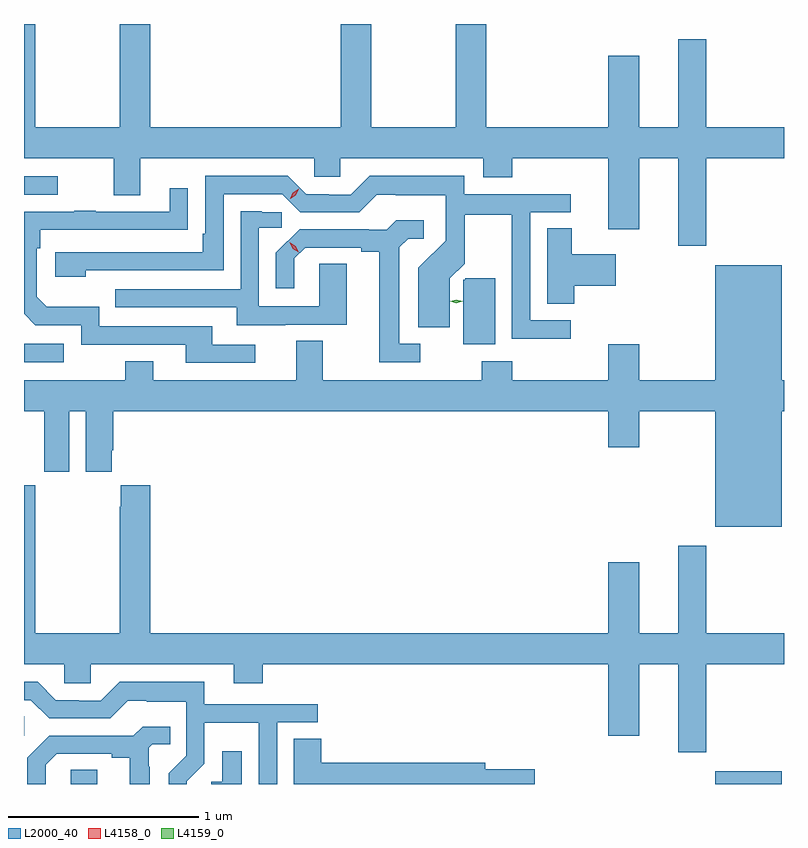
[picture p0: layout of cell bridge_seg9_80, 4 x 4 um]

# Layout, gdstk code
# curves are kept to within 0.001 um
import gdstk
lib = gdstk.Library(unit=1e-6, precision=1e-09)
def R(c, l, rs):  # rectangles x0, y0, x1, y1
    for r in rs: c.add(gdstk.rectangle(r[:2], r[2:], *l))
def P(c, l, *ps):  # polygons
    for p in ps: c.add(gdstk.Polygon(p, *l))
L2000_40 = (2000, 40)
L4158_0 = (4158, 0)
L4159_0 = (4159, 0)

bridge_seg9_80 = lib.new_cell('bridge_seg9_80')
R(bridge_seg9_80, L2000_40, [(1144.974,1203.783,1145.113,1203.857), (1148.366,1203.783,1148.716,1203.85), (1144.728,1204.038,1144.729,1204.139), (1144.728,1206.003,1144.936,1206.099), (1144.728,1206.885,1144.906,1206.981)])
P(bridge_seg9_80, L2000_40, [(1148.319,1207.076),(1148.728,1207.076),(1148.728,1207.24),(1148.319,1207.24),(1148.319,1207.702),(1148.171,1207.702),(1148.171,1207.24),(1147.966,1207.24),(1147.966,1207.615),(1147.802,1207.615),(1147.802,1207.24),(1147.16,1207.24),(1147.16,1207.783),(1147,1207.783),(1147,1207.24),(1146.555,1207.24),(1146.555,1207.783),(1146.395,1207.783),(1146.395,1207.24),(1145.393,1207.24),(1145.393,1207.783),(1145.233,1207.783),(1145.233,1207.24),(1144.788,1207.24),(1144.788,1207.783),(1144.728,1207.783),(1144.728,1207.076),(1145.201,1207.076),(1145.201,1206.882),(1145.341,1206.882),(1145.341,1207.076),(1146.255,1207.076),(1146.255,1206.978),(1146.393,1206.978),(1146.393,1207.076),(1147.145,1207.076),(1147.145,1206.977),(1147.298,1206.977),(1147.298,1207.076),(1147.802,1207.076),(1147.802,1206.702),(1147.966,1206.702),(1147.966,1207.076),(1148.171,1207.076),(1148.171,1206.615),(1148.319,1206.615)],
  [(1147.606,1206.225),(1147.392,1206.225),(1147.392,1206.792),(1147.606,1206.792),(1147.606,1206.888),(1147.044,1206.888),(1147.044,1206.985),(1146.547,1206.985),(1146.447,1206.885),(1146.332,1206.885),(1146.332,1206.888),(1146.213,1206.888),(1146.117,1206.984),(1145.682,1206.984),(1145.682,1206.679),(1145.669,1206.679),(1145.669,1206.582),(1144.893,1206.582),(1144.893,1206.452),(1145.054,1206.452),(1145.054,1206.486),(1145.778,1206.486),(1145.778,1206.888),(1146.087,1206.888),(1146.183,1206.792),(1146.492,1206.792),(1146.585,1206.885),(1146.685,1206.885),(1146.685,1206.881),(1146.948,1206.881),(1146.948,1206.642),(1146.879,1206.573),(1146.877,1206.575),(1146.803,1206.501),(1146.803,1206.188),(1146.97,1206.188),(1146.97,1206.444),(1147.047,1206.521),(1147.047,1206.78),(1147.294,1206.78),(1147.294,1206.556),(1147.296,1206.556),(1147.296,1206.127),(1147.606,1206.127)],
  [(1145.944,1206.096),(1145.719,1206.096),(1145.719,1206.192),(1145.124,1206.192),(1145.124,1206.295),(1144.847,1206.295),(1144.794,1206.348),(1144.794,1206.602),(1144.814,1206.602),(1144.814,1206.699),(1145.591,1206.7),(1145.591,1206.919),(1145.495,1206.919),(1145.495,1206.795),(1145.105,1206.795),(1145.105,1206.8),(1144.993,1206.8),(1144.993,1206.795),(1144.728,1206.795),(1144.728,1206.258),(1144.788,1206.198),(1145.028,1206.198),(1145.028,1206.096),(1145.579,1206.096),(1145.579,1206),(1145.944,1206)],
  [(1146.103,1206.201),(1146.427,1206.201),(1146.427,1206.521),(1146.282,1206.521),(1146.282,1206.297),(1145.964,1206.297),(1145.964,1206.71),(1146.084,1206.71),(1146.084,1206.791),(1145.978,1206.791),(1145.978,1206.798),(1145.868,1206.798),(1145.868,1206.387),(1145.209,1206.387),(1145.209,1206.291),(1145.849,1206.291),(1145.849,1206.197),(1146.103,1206.197)],
  [(1146.814,1206.099),(1146.703,1206.099),(1146.703,1206.607),(1146.75,1206.654),(1146.832,1206.654),(1146.832,1206.751),(1146.688,1206.751),(1146.636,1206.699),(1146.542,1206.699),(1146.542,1206.702),(1146.178,1206.702),(1146.054,1206.578),(1146.054,1206.393),(1146.151,1206.393),(1146.151,1206.549),(1146.208,1206.606),(1146.503,1206.606),(1146.503,1206.584),(1146.599,1206.584),(1146.599,1206.003),(1146.814,1206.003)],
  [(1147.625,1206.406),(1147.843,1206.406),(1147.843,1206.571),(1147.612,1206.571),(1147.612,1206.707),(1147.481,1206.707),(1147.481,1206.31),(1147.625,1206.31)],
  [(1148.716,1205.744),(1148.728,1205.744),(1148.728,1205.908),(1148.716,1205.908),(1148.716,1206.514),(1148.366,1206.514),(1148.366,1205.908),(1147.966,1205.908),(1147.966,1206.097),(1147.802,1206.097),(1147.802,1205.908),(1147.298,1205.908),(1147.298,1206.007),(1147.138,1206.007),(1147.138,1205.908),(1146.301,1205.908),(1146.301,1206.116),(1146.161,1206.116),(1146.161,1205.908),(1145.407,1205.908),(1145.407,1206.007),(1145.26,1206.007),(1145.26,1205.908),(1144.728,1205.908),(1144.728,1205.744),(1144.835,1205.744),(1144.835,1205.427),(1144.966,1205.427),(1144.966,1205.744),(1145.054,1205.744),(1145.054,1205.427),(1145.191,1205.427),(1145.191,1205.539),(1145.198,1205.539),(1145.198,1205.744),(1147.802,1205.744),(1147.802,1205.556),(1147.966,1205.556),(1147.966,1205.744),(1148.366,1205.744),(1148.366,1205.138),(1148.716,1205.138)],
  [(1147.207,1206.446),(1147.05,1206.446),(1147.05,1206.438),(1147.04,1206.438),(1147.04,1206.098),(1147.207,1206.098)],
  [(1148.319,1204.412),(1148.728,1204.412),(1148.728,1204.576),(1148.319,1204.576),(1148.319,1205.038),(1148.171,1205.038),(1148.171,1204.576),(1147.966,1204.576),(1147.966,1204.951),(1147.802,1204.951),(1147.802,1204.576),(1145.393,1204.576),(1145.393,1205.356),(1145.237,1205.356),(1145.237,1205.243),(1145.233,1205.243),(1145.233,1204.576),(1144.788,1204.576),(1144.788,1205.356),(1144.728,1205.356),(1144.728,1204.412),(1144.941,1204.412),(1144.941,1204.314),(1145.079,1204.314),(1145.079,1204.412),(1145.831,1204.412),(1145.831,1204.313),(1145.984,1204.313),(1145.984,1204.412),(1147.802,1204.412),(1147.802,1204.038),(1147.966,1204.038),(1147.966,1204.412),(1148.171,1204.412),(1148.171,1203.951),(1148.319,1203.951)],
  [(1145.585,1203.798),(1145.676,1203.89),(1145.676,1204.106),(1145.964,1204.106),(1145.964,1203.783),(1146.06,1203.783),(1146.06,1204.107),(1146.274,1204.107),(1146.274,1204.203),(1145.677,1204.203),(1145.677,1204.321),(1145.233,1204.321),(1145.133,1204.221),(1145.016,1204.221),(1145.016,1204.224),(1144.896,1204.224),(1144.8,1204.32),(1144.728,1204.32),(1144.728,1204.224),(1144.764,1204.224),(1144.86,1204.128),(1145.181,1204.128),(1145.274,1204.221),(1145.374,1204.221),(1145.374,1204.217),(1145.583,1204.217),(1145.583,1203.933),(1145.49,1203.84),(1145.49,1203.783),(1145.585,1203.783)],
  [(1144.843,1203.885),(1144.9,1203.942),(1145.189,1203.942),(1145.189,1203.922),(1145.285,1203.922),(1145.285,1203.783),(1145.389,1203.783),(1145.389,1203.875),(1145.385,1203.875),(1145.385,1203.975),(1145.403,1203.993),(1145.498,1203.993),(1145.498,1204.085),(1145.352,1204.085),(1145.304,1204.038),(1144.862,1204.038),(1144.746,1203.922),(1144.746,1203.783),(1144.843,1203.783)],
  [(1147.417,1203.86),(1147.156,1203.86),(1147.156,1203.896),(1146.293,1203.896),(1146.293,1204.022),(1146.149,1204.022),(1146.149,1203.783),(1147.417,1203.783)],
  [(1145.875,1203.955),(1145.771,1203.955),(1145.771,1203.795),(1145.714,1203.795),(1145.714,1203.783),(1145.875,1203.783)])
P(bridge_seg9_80, L4158_0, [(1146.174,1206.581),(1146.143,1206.601),(1146.126,1206.634),(1146.126,1206.634),(1146.126,1206.634),(1146.158,1206.614),(1146.175,1206.582),(1146.175,1206.581)],
  [(1146.128,1206.862),(1146.128,1206.862),(1146.143,1206.895),(1146.173,1206.917),(1146.173,1206.917),(1146.173,1206.916),(1146.159,1206.883),(1146.129,1206.862)])
P(bridge_seg9_80, L4159_0, [(1147.004,1206.313),(1146.971,1206.323),(1146.971,1206.323),(1146.971,1206.323),(1147.004,1206.333),(1147.037,1206.323),(1147.038,1206.323),(1147.037,1206.323)])

lib.write_gds('bridge_seg9_80.gds')
